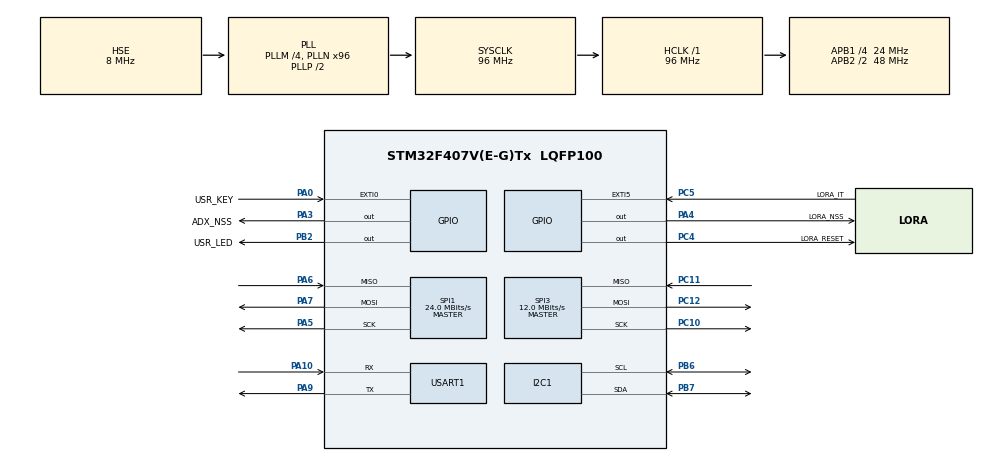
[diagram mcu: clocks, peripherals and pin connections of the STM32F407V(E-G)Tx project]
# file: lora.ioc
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Mcu.Family=STM32F4
Mcu.Name=STM32F407V(E-G)Tx
Mcu.Package=LQFP100
NVIC.EXTI0_IRQn=true\:0\:0\:false\:false\:true\:true\:true
NVIC.EXTI9_5_IRQn=true\:0\:0\:false\:false\:true\:true\:true
NVIC.PriorityGroup=NVIC_PRIORITYGROUP_4
PA0-WKUP.GPIO_Label=USR_KEY
PA0-WKUP.Signal=GPXTI0
PA10.Mode=Asynchronous
PA10.Signal=USART1_RX
PA13.Mode=Serial_Wire
PA13.Signal=SYS_JTMS-SWDIO
PA14.Mode=Serial_Wire
PA14.Signal=SYS_JTCK-SWCLK
PA3.GPIO_Label=ADX_NSS
PA3.PinState=GPIO_PIN_SET
PA3.Signal=GPIO_Output
PA4.GPIO_Label=LORA_NSS
PA4.PinState=GPIO_PIN_SET
PA4.Signal=GPIO_Output
PA5.Mode=Full_Duplex_Master
PA5.Signal=SPI1_SCK
PA6.Mode=Full_Duplex_Master
PA6.Signal=SPI1_MISO
PA7.Mode=Full_Duplex_Master
PA7.Signal=SPI1_MOSI
PA9.Mode=Asynchronous
PA9.Signal=USART1_TX
PB2.GPIO_Label=USR_LED
PB2.PinState=GPIO_PIN_SET
PB2.Signal=GPIO_Output
PB6.Mode=I2C
PB6.Signal=I2C1_SCL
PB7.Mode=I2C
PB7.Signal=I2C1_SDA
PC10.Mode=Full_Duplex_Master
PC10.Signal=SPI3_SCK
PC11.Mode=Full_Duplex_Master
PC11.Signal=SPI3_MISO
PC12.Mode=Full_Duplex_Master
PC12.Signal=SPI3_MOSI
PC14-OSC32_IN.Mode=LSE-External-Oscillator
PC14-OSC32_IN.Signal=RCC_OSC32_IN
PC15-OSC32_OUT.Mode=LSE-External-Oscillator
PC15-OSC32_OUT.Signal=RCC_OSC32_OUT
PC4.GPIO_Label=LORA_RESET
PC4.PinState=GPIO_PIN_SET
PC4.Signal=GPIO_Output
PC5.GPIO_Label=LORA_IT
PC5.GPIO_ModeDefaultEXTI=GPIO_MODE_IT_RISING
PC5.GPIO_PuPd=GPIO_PULLDOWN
PC5.Signal=GPXTI5
PH0-OSC_IN.Mode=HSE-External-Oscillator
PH0-OSC_IN.Signal=RCC_OSC_IN
PH1-OSC_OUT.Mode=HSE-External-Oscillator
PH1-OSC_OUT.Signal=RCC_OSC_OUT
ProjectManager.HeapSize=0x200
ProjectManager.StackSize=0x400
ProjectManager.TargetToolchain=MDK-ARM V5.32
RCC.48MHZClocksFreq_Value=48000000
RCC.AHBFreq_Value=96000000
RCC.APB1CLKDivider=RCC_HCLK_DIV4
RCC.APB1Freq_Value=24000000
RCC.APB1TimFreq_Value=48000000
RCC.APB2CLKDivider=RCC_HCLK_DIV2
RCC.APB2Freq_Value=48000000
RCC.APB2TimFreq_Value=96000000
RCC.CortexFreq_Value=96000000
RCC.HCLKFreq_Value=96000000
RCC.HSE_VALUE=8000000
RCC.HSI_VALUE=16000000
RCC.PLLM=4
RCC.PLLN=96
RCC.PLLSourceVirtual=RCC_PLLSOURCE_HSE
RCC.SYSCLKFreq_VALUE=96000000
RCC.SYSCLKSource=RCC_SYSCLKSOURCE_PLLCLK
RCC.VCOOutputFreq_Value=192000000
SPI1.BaudRatePrescaler=SPI_BAUDRATEPRESCALER_2
SPI1.CLKPhase=SPI_PHASE_2EDGE
SPI1.CLKPolarity=SPI_POLARITY_HIGH
SPI1.CalculateBaudRate=24.0 MBits/s
SPI1.Direction=SPI_DIRECTION_2LINES
SPI1.Mode=SPI_MODE_MASTER
SPI1.VirtualType=VM_MASTER
SPI3.CalculateBaudRate=12.0 MBits/s
SPI3.Direction=SPI_DIRECTION_2LINES
SPI3.Mode=SPI_MODE_MASTER
SPI3.VirtualType=VM_MASTER
USART1.VirtualMode=VM_ASYNC
board=custom

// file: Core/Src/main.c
/* USER CODE BEGIN Header */
/**
  ******************************************************************************
  * @file           : main.c
  * @brief          : Main program body
  ******************************************************************************
  * @attention
  *
  * Copyright (c) 2024 STMicroelectronics.
  * All rights reserved.
  *
  * This software is licensed under terms that can be found in the LICENSE file
  * in the root directory of this software component.
  * If no LICENSE file comes with this software, it is provided AS-IS.
  *
  ******************************************************************************
  */
/* USER CODE END Header */
#include "main.h"
#include "i2c.h"
#include "spi.h"
#include "usart.h"
#include "gpio.h"

/* USER CODE BEGIN Includes */
#include "OLED.h"
#include "bmp.h"
#include "softwareIIC.h"
#include "lora.h"
/* USER CODE END Includes */

/* USER CODE BEGIN PV */
uint8_t gLoraRevFlag = 0;
uint32_t fac_us;

void HAL_Delay_us_init(uint8_t SYSCLK)//里面参数为自己单片机的时钟主频，我的项目目前为168MHZ，即填写169即可
{
     fac_us=SYSCLK;
}

void HAL_Delay_us(uint32_t nus)
{
    uint32_t ticks;
    uint32_t told,tnow,tcnt=0;
    uint32_t reload=SysTick->LOAD;
    ticks=nus*fac_us;
    told=SysTick->VAL;
    while(1)
    {
        tnow=SysTick->VAL;
        if(tnow!=told)
        {
            if(tnow<told)tcnt+=told-tnow;
            else tcnt+=reload-tnow+told;
            told=tnow;
            if(tcnt>=ticks)break;
        }
    };
}

/* USER CODE END PV */

void SystemClock_Config(void);

int main(void)
{
  /* USER CODE BEGIN 1 */
	uint8_t txData[32];        // lora间隔500ms向外发送一次测试信息
	uint8_t cnt =0;
  /* USER CODE END 1 */

  /* MCU Configuration--------------------------------------------------------*/

  /* Reset of all peripherals, Initializes the Flash interface and the Systick. */
  HAL_Init();

  /* USER CODE BEGIN Init */
	HAL_Delay_us_init(97);
  /* USER CODE END Init */

  /* Configure the system clock */
  SystemClock_Config();

  /* Initialize all configured peripherals */
  MX_GPIO_Init();
  MX_SPI1_Init();
  MX_USART1_UART_Init();
  MX_I2C1_Init();
  MX_SPI3_Init();
  /* USER CODE BEGIN 2 */
  HAL_Delay(1000);
  SPI_ADXL345_ReadID();
  Lora_Init( 416, 11, 8);
  Soft_IIC_Init();
  OLED_Init();
  HAL_Delay(500);

//  Lora_Init( 416, 11, 8);
	printf("systerm start!\r\n");
  /* USER CODE END 2 */

  /* Infinite loop */
  while (1)
  {

    /* USER CODE BEGIN 3 */
	OLED_Clear();
	OLED_ShowChar(0, 0, 'A', 16);
	OLED_ShowChar(0, 2, 'B', 16);
	OLED_ShowChar(0, 4, 'C', 16);
	OLED_ShowChar(0, 6, 'D', 16);

	OLED_ShowChar(15, 0, 'A', 12);
	OLED_ShowChar(15, 1, 'B', 12);
	OLED_ShowChar(15, 2, 'C', 12);
	OLED_ShowChar(15, 3, 'D', 12);
	OLED_ShowChar(15, 4, 'E', 12);
	OLED_ShowChar(15, 5, 'F', 12);
	OLED_ShowChar(15, 6, 'G', 12);
	OLED_ShowChar(15, 7, 'H', 12);

	OLED_ShowString(30, 0, "fyzhhhfhx", 12);

	OLED_ShowCHinese(35, 2, 0);
	OLED_ShowCHinese(65, 2, 1);
	OLED_ShowCHinese(95, 2, 2);

	OLED_ShowString(36, 6, "IoT?Board", 16);

	HAL_Delay(2000);
	OLED_DrawBMP(0, 0, 128, 8, BMP1);

	HAL_Delay(2000);
	sprintf((char*)txData, "我是lora第%d次测试的数据!ZZZ", cnt++);
    Lora_TxData (txData, 32) ;

    printf("已发送第 %d 次数据,\r\n", cnt);
  }
  /* USER CODE END 3 */
}

void SystemClock_Config(void)
{
  RCC_OscInitTypeDef RCC_OscInitStruct = {0};
  RCC_ClkInitTypeDef RCC_ClkInitStruct = {0};

  /** Configure the main internal regulator output voltage
  */
  __HAL_RCC_PWR_CLK_ENABLE();
  __HAL_PWR_VOLTAGESCALING_CONFIG(PWR_REGULATOR_VOLTAGE_SCALE1);
  /** Initializes the RCC Oscillators according to the specified parameters
  * in the RCC_OscInitTypeDef structure.
  */
  RCC_OscInitStruct.OscillatorType = RCC_OSCILLATORTYPE_HSE;
  RCC_OscInitStruct.HSEState = RCC_HSE_ON;
  RCC_OscInitStruct.PLL.PLLState = RCC_PLL_ON;
  RCC_OscInitStruct.PLL.PLLSource = RCC_PLLSOURCE_HSE;
  RCC_OscInitStruct.PLL.PLLM = 4;
  RCC_OscInitStruct.PLL.PLLN = 96;
  RCC_OscInitStruct.PLL.PLLP = RCC_PLLP_DIV2;
  RCC_OscInitStruct.PLL.PLLQ = 4;
  if (HAL_RCC_OscConfig(&RCC_OscInitStruct) != HAL_OK)
  {
    Error_Handler();
  }
  /** Initializes the CPU, AHB and APB buses clocks
  */
  RCC_ClkInitStruct.ClockType = RCC_CLOCKTYPE_HCLK|RCC_CLOCKTYPE_SYSCLK
                              |RCC_CLOCKTYPE_PCLK1|RCC_CLOCKTYPE_PCLK2;
  RCC_ClkInitStruct.SYSCLKSource = RCC_SYSCLKSOURCE_PLLCLK;
  RCC_ClkInitStruct.AHBCLKDivider = RCC_SYSCLK_DIV1;
  RCC_ClkInitStruct.APB1CLKDivider = RCC_HCLK_DIV4;
  RCC_ClkInitStruct.APB2CLKDivider = RCC_HCLK_DIV2;

  if (HAL_RCC_ClockConfig(&RCC_ClkInitStruct, FLASH_LATENCY_3) != HAL_OK)
  {
    Error_Handler();
  }
}

void Error_Handler(void)
{
  __disable_irq();
  while (1)
  {
  }
}
